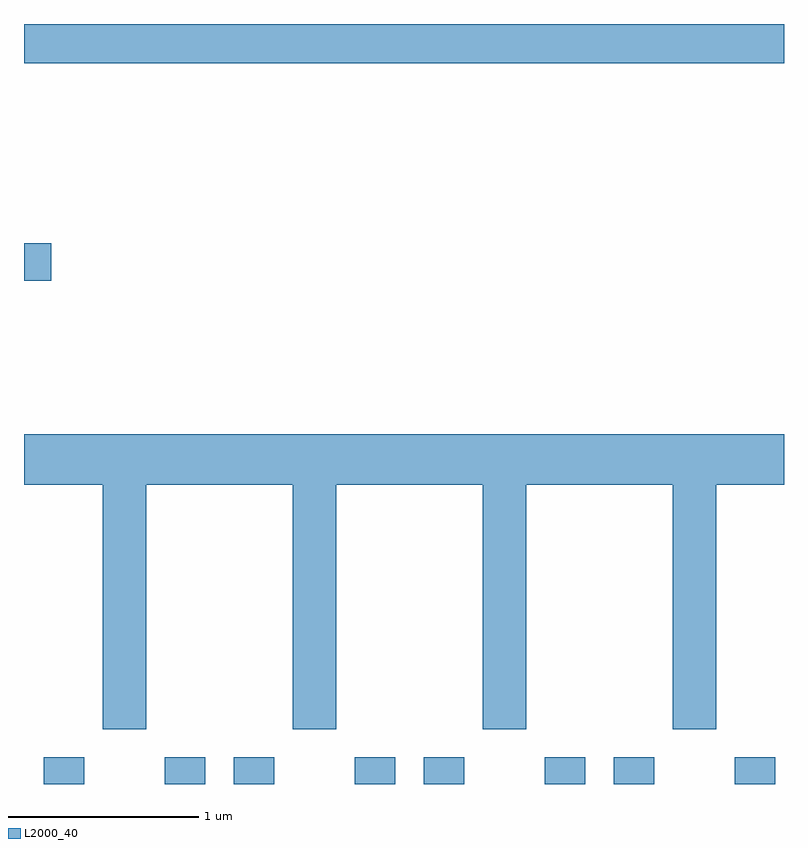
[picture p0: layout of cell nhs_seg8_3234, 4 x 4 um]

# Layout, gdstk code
import gdstk
lib = gdstk.Library(unit=1e-6, precision=1e-09)
def R(c, l, rs):  # rectangles x0, y0, x1, y1
    for r in rs: c.add(gdstk.rectangle(r[:2], r[2:], *l))
def P(c, l, *ps):  # polygons
    for p in ps: c.add(gdstk.Polygon(p, *l))
L2000_40 = (2000, 40)

nhs_seg8_3234 = lib.new_cell('nhs_seg8_3234')
R(nhs_seg8_3234, L2000_40, [(281.716,1890.342,281.929,1890.484), (282.351,1890.342,282.564,1890.484), (282.716,1890.342,282.929,1890.484), (283.351,1890.342,283.564,1890.484), (283.716,1890.342,283.929,1890.484), (284.351,1890.342,284.564,1890.484), (284.716,1890.342,284.929,1890.484), (285.351,1890.342,285.564,1890.484), (281.611,1892.991,281.754,1893.189), (281.611,1894.136,285.611,1894.342)])
P(nhs_seg8_3234, L2000_40, [(282.254,1891.916),(283.026,1891.916),(283.026,1890.631),(283.254,1890.631),(283.254,1891.916),(284.026,1891.916),(284.026,1890.631),(284.254,1890.631),(284.254,1891.916),(285.026,1891.916),(285.026,1890.631),(285.254,1890.631),(285.254,1891.916),(285.611,1891.916),(285.611,1892.184),(281.611,1892.184),(281.611,1891.916),(282.026,1891.916),(282.026,1890.631),(282.254,1890.631)])

lib.write_gds('nhs_seg8_3234.gds')
